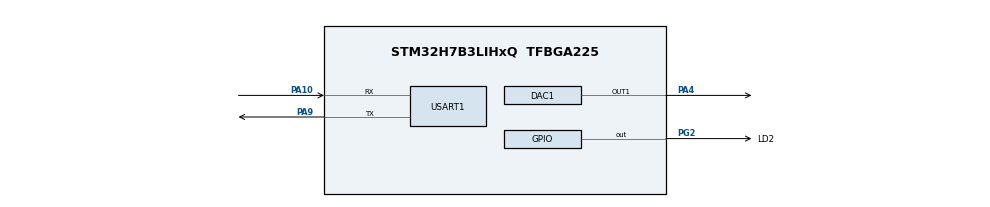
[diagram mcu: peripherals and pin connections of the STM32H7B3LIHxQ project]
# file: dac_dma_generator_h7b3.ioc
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CORTEX_M7.CPU_DCache=Disabled
CORTEX_M7.CPU_ICache=Disabled
CORTEX_M7.MPU_Control=__NULL
CORTEX_M7.default_mode_Activation=0
DAC1.DAC_Channel-DAC_OUT1=DAC_CHANNEL_1
DAC1.DAC_SampleAndHold-DAC_OUT1=DAC_SAMPLEANDHOLD_DISABLE
DAC1.DAC_Trigger-DAC_OUT1=DAC_TRIGGER_T6_TRGO
DAC1.WaveGeneration-DAC_OUT1=DISABLE
Dma.DAC1_CH1.0.Direction=DMA_MEMORY_TO_PERIPH
Dma.DAC1_CH1.0.EventEnable=DISABLE
Dma.DAC1_CH1.0.FIFOMode=DMA_FIFOMODE_DISABLE
Dma.DAC1_CH1.0.Instance=DMA1_Stream0
Dma.DAC1_CH1.0.MemDataAlignment=DMA_MDATAALIGN_HALFWORD
Dma.DAC1_CH1.0.MemInc=DMA_MINC_ENABLE
Dma.DAC1_CH1.0.Mode=DMA_CIRCULAR
Dma.DAC1_CH1.0.PeriphDataAlignment=DMA_PDATAALIGN_HALFWORD
Dma.DAC1_CH1.0.PeriphInc=DMA_PINC_DISABLE
Dma.DAC1_CH1.0.Polarity=HAL_DMAMUX_REQ_GEN_RISING
Dma.DAC1_CH1.0.Priority=DMA_PRIORITY_HIGH
Dma.DAC1_CH1.0.RequestNumber=1
Dma.DAC1_CH1.0.SignalID=NONE
Dma.DAC1_CH1.0.SyncEnable=DISABLE
Dma.DAC1_CH1.0.SyncPolarity=HAL_DMAMUX_SYNC_NO_EVENT
Dma.DAC1_CH1.0.SyncRequestNumber=1
Dma.DAC1_CH1.0.SyncSignalID=NONE
Dma.Request0=DAC1_CH1
Mcu.Family=STM32H7
Mcu.Name=STM32H7B3LIHxQ
Mcu.Package=TFBGA225
NVIC.DMA1_Stream0_IRQn=true\:0\:0\:false\:false\:true\:false\:true\:true
NVIC.PriorityGroup=NVIC_PRIORITYGROUP_4
NVIC.TIM7_IRQn=true\:0\:0\:false\:false\:true\:true\:true\:true
PA10.Mode=Asynchronous
PA10.Signal=USART1_RX
PA4.Signal=COMP_DAC11_group
PA9.Mode=Asynchronous
PA9.Signal=USART1_TX
PG2.GPIO_Label=LD2
PG2.Signal=GPIO_Output
PH0-OSC_IN.Mode=HSE-External-Oscillator
PH0-OSC_IN.Signal=RCC_OSC_IN
PH1-OSC_OUT.Mode=HSE-External-Oscillator
PH1-OSC_OUT.Signal=RCC_OSC_OUT
ProjectManager.HeapSize=0x200
ProjectManager.StackSize=0x400
ProjectManager.TargetToolchain=STM32CubeIDE
RCC.ADCFreq_Value=48375000
RCC.APB1Freq_Value=40000000
RCC.APB2Freq_Value=40000000
RCC.APB3Freq_Value=40000000
RCC.APB4Freq_Value=40000000
RCC.CDPPRE=RCC_APB3_DIV2
RCC.CDPPRE1=RCC_APB1_DIV2
RCC.CDPPRE2=RCC_APB2_DIV2
RCC.CortexFreq_Value=80000000
RCC.DIVM1=2
RCC.DIVN1=40
RCC.DIVP1=6
RCC.HCLKFreq_Value=80000000
RCC.HSICalibrationValue=16
RCC.PLLFRACN=0
RCC.PLLSourceVirtual=RCC_PLLSOURCE_HSE
RCC.SRDPPRE=RCC_APB4_DIV2
RCC.SYSCLKFreq_VALUE=80000000
RCC.SYSCLKSource=RCC_SYSCLKSOURCE_PLLCLK
RCC.USBFreq_Value=240000000
SH.COMP_DAC11_group.0=DAC1_OUT1,DAC_OUT1
TIM6.AutoReloadPreload=TIM_AUTORELOAD_PRELOAD_ENABLE
TIM6.CounterMode=TIM_COUNTERMODE_UP
TIM6.Period=1999
TIM6.Prescaler=0
TIM6.TIM_MasterOutputTrigger=TIM_TRGO_UPDATE
TIM7.AutoReloadPreload=TIM_AUTORELOAD_PRELOAD_DISABLE
TIM7.CounterMode=TIM_COUNTERMODE_UP
TIM7.Period=4999
TIM7.Prescaler=7999
TIM7.TIM_MasterOutputTrigger=TIM_TRGO_UPDATE
USART1.VirtualMode-Asynchronous=VM_ASYNC
VP_TIM6_VS_ClockSourceINT.Mode=Enable_Timer
VP_TIM7_VS_ClockSourceINT.Mode=Enable_Timer
board=STM32F746G-DISCO

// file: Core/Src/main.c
/* USER CODE BEGIN Header */
/**
  ******************************************************************************
  * @file           : main.c
  * @brief          : Main program body
  ******************************************************************************
  * @attention
  *
  * Copyright (c) 2024 STMicroelectronics.
  * All rights reserved.
  *
  * This software is licensed under terms that can be found in the LICENSE file
  * in the root directory of this software component.
  * If no LICENSE file comes with this software, it is provided AS-IS.
  *
  ******************************************************************************
  */
/* USER CODE END Header */
#include "main.h"
#include "dac.h"
#include "dma.h"
#include "tim.h"
#include "usart.h"
#include "gpio.h"

/* USER CODE BEGIN Includes */
#include <stdio.h>
/* USER CODE END Includes */

/* USER CODE BEGIN PD */
//#define LENGTH 128
#define   LENGTHb          48
#define UPSF 10
/* USER CODE END PD */

/* USER CODE BEGIN PV */
//__attribute__(( section(".data") )) const volatile uint16_t function[LENGTH] = { 2048, 2145, 2242, 2339, 2435, 2530, 2624, 2717, 2808, 2897,
//	                                2984, 3069, 3151, 3230, 3307, 3381, 3451, 3518, 3581, 3640,
//	                                3696, 3748, 3795, 3838, 3877, 3911, 3941, 3966, 3986, 4002,
//	                                4013, 4019, 4020, 4016, 4008, 3995, 3977, 3954, 3926, 3894,
//	                                3858, 3817, 3772, 3722, 3669, 3611, 3550, 3485, 3416, 3344,
//	                                3269, 3191, 3110, 3027, 2941, 2853, 2763, 2671, 2578, 2483,
//	                                2387, 2291, 2194, 2096, 1999, 1901, 1804, 1708, 1612, 1517,
//	                                1424, 1332, 1242, 1154, 1068, 985, 904, 826, 751, 679,
//	                                610, 545, 484, 426, 373, 323, 278, 237, 201, 169,
//	                                141, 118, 100, 87, 79, 75, 76, 82, 93, 109,
//	                                129, 154, 184, 218, 257, 300, 347, 399, 455, 514,
//	                                577, 644, 714, 788, 865, 944, 1026, 1111, 1198, 1287,
//	                                1378, 1471, 1565, 1660, 1756, 1853, 1950, 2047 };

__attribute__(( section(".data") )) volatile uint16_t data[LENGTHb] = {1, 0, 1, 0, 1, 0, 1, 0, 1, 0, 0, 0, 1, 0, 0, 1, 1, 0, 1, 0, 1, 0, 1, 1, 1, 1, 0, 0, 1, 1, 0, 1, 1, 1,1, 0, 1, 1, 1, 1, 0, 1, 0, 1, 0, 1, 0, 1};

//__attribute__(( section(".data") )) volatile uint16_t datat[10] = {1, 0, 1, 0, 1, 0, 1, 0, 1, 0};
uint16_t dataup[LENGTHb*UPSF] = {0};
/* USER CODE END PV */

void SystemClock_Config(void);
/* USER CODE BEGIN PFP */
void resample_and_scale(uint16_t *datain, uint16_t length, uint16_t *dataout, uint8_t upsf);

#ifdef __GNUC__
/* With GCC/RAISONANCE, small printf (option LD Linker->Libraries->Small printf
set to 'Yes') calls __io_putchar() */
#define PUTCHAR_PROTOTYPE int __io_putchar(int ch)
#else
#define PUTCHAR_PROTOTYPE int fputc(int ch, FILE *f)
#endif /* __GNUC__ */
/* USER CODE END PFP */

int main(void)
{
  /* USER CODE BEGIN 1 */
  uint32_t sfr;
  /* USER CODE END 1 */

  /* MCU Configuration--------------------------------------------------------*/

  /* Reset of all peripherals, Initializes the Flash interface and the Systick. */
  HAL_Init();

  /* Configure the system clock */
  SystemClock_Config();

  /* Initialize all configured peripherals */
  MX_GPIO_Init();
  MX_DMA_Init();
  MX_TIM7_Init();
  MX_TIM6_Init();
  MX_DAC1_Init();
  MX_USART1_UART_Init();
  /* USER CODE BEGIN 2 */
  printf("Program has started!\r\n");
  printf("HCLK Freq = %lu\r\n", HAL_RCC_GetHCLKFreq());
  sfr = (uint32_t)HAL_RCC_GetHCLKFreq()/(TIM6->ARR+1);
  printf("DAC Sampling Freq = %ld\r\n", sfr);
  printf("Rb = %ld\r\n", (uint32_t)(sfr/UPSF));

  resample_and_scale((uint16_t*)data, (uint8_t)LENGTHb, (uint16_t*)dataup, (uint8_t)UPSF);
  HAL_DAC_Start_DMA(&hdac1, DAC_CHANNEL_1, (uint32_t *)dataup, LENGTHb*UPSF, DAC_ALIGN_12B_R);
  HAL_TIM_Base_Start(&htim6);
  HAL_TIM_Base_Start_IT(&htim7);
  /* USER CODE END 2 */

  /* Infinite loop */
  while (1)
  {

  }
}

void SystemClock_Config(void)
{
  RCC_OscInitTypeDef RCC_OscInitStruct = {0};
  RCC_ClkInitTypeDef RCC_ClkInitStruct = {0};

  /*AXI clock gating */
  RCC->CKGAENR = 0xFFFFFFFF;

  /** Supply configuration update enable
  */
  HAL_PWREx_ConfigSupply(PWR_DIRECT_SMPS_SUPPLY);

  /** Configure the main internal regulator output voltage
  */
  __HAL_PWR_VOLTAGESCALING_CONFIG(PWR_REGULATOR_VOLTAGE_SCALE3);

  while(!__HAL_PWR_GET_FLAG(PWR_FLAG_VOSRDY)) {}

  /** Initializes the RCC Oscillators according to the specified parameters
  * in the RCC_OscInitTypeDef structure.
  */
  RCC_OscInitStruct.OscillatorType = RCC_OSCILLATORTYPE_LSI|RCC_OSCILLATORTYPE_HSE;
  RCC_OscInitStruct.HSEState = RCC_HSE_ON;
  RCC_OscInitStruct.LSIState = RCC_LSI_ON;
  RCC_OscInitStruct.PLL.PLLState = RCC_PLL_ON;
  RCC_OscInitStruct.PLL.PLLSource = RCC_PLLSOURCE_HSE;
  RCC_OscInitStruct.PLL.PLLM = 2;
  RCC_OscInitStruct.PLL.PLLN = 40;
  RCC_OscInitStruct.PLL.PLLP = 6;
  RCC_OscInitStruct.PLL.PLLQ = 2;
  RCC_OscInitStruct.PLL.PLLR = 2;
  RCC_OscInitStruct.PLL.PLLRGE = RCC_PLL1VCIRANGE_3;
  RCC_OscInitStruct.PLL.PLLVCOSEL = RCC_PLL1VCOWIDE;
  RCC_OscInitStruct.PLL.PLLFRACN = 0;
  if (HAL_RCC_OscConfig(&RCC_OscInitStruct) != HAL_OK)
  {
    Error_Handler();
  }

  /** Initializes the CPU, AHB and APB buses clocks
  */
  RCC_ClkInitStruct.ClockType = RCC_CLOCKTYPE_HCLK|RCC_CLOCKTYPE_SYSCLK
                              |RCC_CLOCKTYPE_PCLK1|RCC_CLOCKTYPE_PCLK2
                              |RCC_CLOCKTYPE_D3PCLK1|RCC_CLOCKTYPE_D1PCLK1;
  RCC_ClkInitStruct.SYSCLKSource = RCC_SYSCLKSOURCE_PLLCLK;
  RCC_ClkInitStruct.SYSCLKDivider = RCC_SYSCLK_DIV1;
  RCC_ClkInitStruct.AHBCLKDivider = RCC_HCLK_DIV1;
  RCC_ClkInitStruct.APB3CLKDivider = RCC_APB3_DIV2;
  RCC_ClkInitStruct.APB1CLKDivider = RCC_APB1_DIV2;
  RCC_ClkInitStruct.APB2CLKDivider = RCC_APB2_DIV2;
  RCC_ClkInitStruct.APB4CLKDivider = RCC_APB4_DIV2;

  if (HAL_RCC_ClockConfig(&RCC_ClkInitStruct, FLASH_LATENCY_3) != HAL_OK)
  {
    Error_Handler();
  }
}

/* USER CODE BEGIN 4 */
void HAL_TIM_PeriodElapsedCallback(TIM_HandleTypeDef *htim)
{
	if (htim->Instance == htim7.Instance)
	  {
	      HAL_GPIO_TogglePin(LD2_GPIO_Port, LD2_Pin);
	  }
//	else if (htim->Instance == htim6.Instance)
//	{
//		HAL_GPIO_TogglePin(LED_G_EXT_GPIO_Port, LED_G_EXT_Pin);
//	}
}
void resample_and_scale(uint16_t *datain, uint16_t length, uint16_t *dataout, uint8_t upsf)
{
  uint16_t i, j, k = 0;

  for (i=0; i < length*upsf; i=i+upsf)
  {
	  for (j=0; j < upsf; j++)
		  dataout[i+j] = 4095*datain[k];
	  k++;
  }
}

PUTCHAR_PROTOTYPE
{
	/* Place your implementation of fputc here */
	/* e.g. write a character to the USART2 and Loop until the end
	of transmission */
	HAL_UART_Transmit(&huart1, (uint8_t *)&ch, 1, 100);
	return ch;
}
/* USER CODE END 4 */

void Error_Handler(void)
{
  __disable_irq();
  while (1)
  {
  }
}
